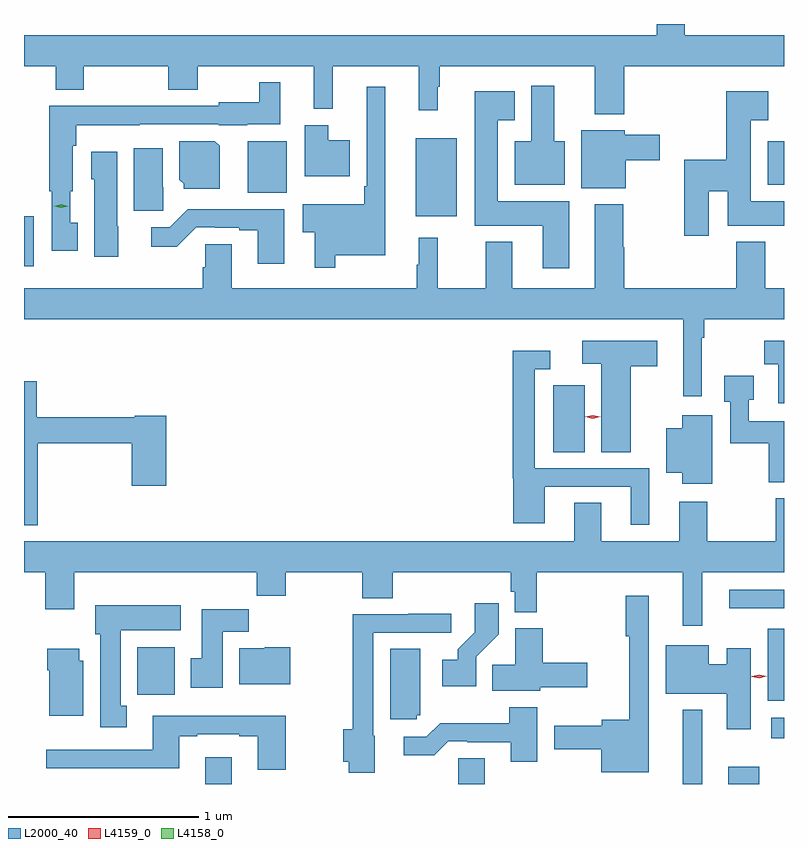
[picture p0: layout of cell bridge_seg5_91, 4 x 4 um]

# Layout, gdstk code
import gdstk
lib = gdstk.Library(unit=1e-6, precision=1e-09)
def R(c, l, rs):  # rectangles x0, y0, x1, y1
    for r in rs: c.add(gdstk.rectangle(r[:2], r[2:], *l))
def P(c, l, *ps):  # polygons
    for p in ps: c.add(gdstk.Polygon(p, *l))
L2000_40 = (2000, 40)
L4158_0 = (4158, 0)
L4159_0 = (4159, 0)

bridge_seg5_91 = lib.new_cell('bridge_seg5_91')
R(bridge_seg5_91, L2000_40, [(184.589,908.926,184.729,909.067), (185.922,908.926,186.061,909.062), (187.103,908.926,187.207,909.316), (187.343,908.926,187.507,909.016), (187.569,909.168,187.636,909.276), (187.55,909.365,187.636,909.742), (184.233,909.396,184.429,909.646), (187.347,909.852,187.636,909.948), (186.422,910.672,186.586,911.026), (183.636,911.651,183.688,911.914), (185.699,911.915,185.914,912.325), (184.814,912.038,185.02,912.308), (187.55,912.08,187.636,912.31)])
P(bridge_seg5_91, L2000_40, [(186.794,912.704),(187.636,912.704),(187.636,912.868),(187.113,912.868),(187.113,912.926),(186.965,912.926),(186.965,912.868),(183.636,912.868),(183.636,912.704),(183.803,912.704),(183.803,912.58),(183.951,912.58),(183.951,912.704),(184.396,912.704),(184.396,912.58),(184.551,912.58),(184.551,912.704),(185.162,912.704),(185.162,912.479),(185.261,912.479),(185.261,912.704),(185.714,912.704),(185.714,912.471),(185.813,912.471),(185.813,912.596),(185.824,912.596),(185.824,912.704),(186.641,912.704),(186.641,912.452),(186.794,912.452)],
  [(183.919,911.881),(183.879,911.881),(183.879,912.045),(183.892,912.045),(183.892,912.285),(183.91,912.285),(183.91,912.392),(184.245,912.392),(184.245,912.399),(184.662,912.399),(184.662,912.392),(184.812,912.392),(184.812,912.398),(184.985,912.398),(184.985,912.619),(184.875,912.619),(184.875,912.514),(184.662,912.514),(184.662,912.495),(184.245,912.495),(184.245,912.497),(184.013,912.497),(184.013,912.495),(183.77,912.495),(183.77,912.045),(183.783,912.045),(183.783,911.733),(183.919,911.733)],
  [(186.481,912.31),(186.427,912.31),(186.427,912.601),(186.305,912.601),(186.305,912.31),(186.218,912.31),(186.218,912.08),(186.481,912.08)],
  [(185.275,911.708),(185.536,911.708),(185.536,912.595),(185.439,912.595),(185.439,912.073),(185.427,912.073),(185.427,911.977),(185.102,911.977),(185.102,911.83),(185.165,911.83),(185.165,911.643),(185.275,911.643)],
  [(187.24,912.047),(187.34,912.047),(187.34,911.864),(187.636,911.864),(187.636,911.992),(187.462,911.992),(187.462,912.419),(187.552,912.419),(187.552,912.571),(187.333,912.571),(187.333,912.212),(187.111,912.212),(187.111,911.811),(187.24,911.811)],
  [(186.505,911.992),(186.13,911.992),(186.13,912.419),(186.22,912.419),(186.22,912.571),(186.008,912.571),(186.008,911.864),(186.365,911.864),(186.365,911.64),(186.505,911.64)],
  [(185.35,912.313),(185.236,912.313),(185.236,912.394),(185.114,912.394),(185.114,912.125),(185.35,912.125)],
  [(186.802,912.209),(186.982,912.209),(186.982,912.343),(186.798,912.343),(186.798,912.367),(186.569,912.367),(186.569,912.062),(186.802,912.062)],
  [(184.666,912.284),(184.64,912.31),(184.454,912.31),(184.454,912.106),(184.476,912.084),(184.476,912.059),(184.666,912.059)],
  [(184.37,912.066),(184.366,912.066),(184.366,912.271),(184.214,912.271),(184.214,911.943),(184.37,911.943)],
  [(184.132,911.862),(184.126,911.862),(184.126,912.253),(183.989,912.253),(183.989,912.108),(184.007,912.108),(184.007,911.7),(184.132,911.7)],
  [(187.203,911.276),(187.216,911.276),(187.216,911.372),(187.636,911.372),(187.636,911.536),(187.537,911.536),(187.537,911.779),(187.385,911.779),(187.385,911.536),(186.794,911.536),(186.794,911.751),(186.789,911.751),(186.789,911.977),(186.641,911.977),(186.641,911.536),(186.205,911.536),(186.205,911.779),(186.065,911.779),(186.065,911.536),(185.814,911.536),(185.814,911.8),(185.714,911.8),(185.714,911.66),(185.703,911.66),(185.703,911.536),(184.729,911.536),(184.729,911.768),(184.59,911.768),(184.59,911.646),(184.577,911.646),(184.577,911.536),(183.636,911.536),(183.636,911.372),(187.106,911.372),(187.106,910.968),(187.203,910.968)],
  [(185.005,911.95),(184.498,911.95),(184.404,911.856),(184.305,911.856),(184.305,911.754),(184.44,911.754),(184.542,911.856),(184.642,911.856),(184.642,911.853),(184.769,911.853),(184.769,911.841),(184.865,911.841),(184.865,911.664),(185.005,911.664)],
  [(187.636,911.26),(187.533,911.26),(187.533,911.134),(187.607,911.134),(187.607,910.931),(187.636,910.931)],
  [(186.829,911.126),(186.97,911.126),(186.97,911.26),(186.573,911.26),(186.573,911.138),(186.674,911.138),(186.674,910.672),(186.829,910.672)],
  [(186.928,910.587),(186.324,910.587),(186.324,911.109),(186.406,911.109),(186.406,911.206),(186.208,911.206),(186.208,910.534),(186.212,910.534),(186.212,910.298),(186.376,910.298),(186.376,910.491),(186.83,910.491),(186.83,910.29),(186.928,910.29)],
  [(187.636,910.836),(187.45,910.836),(187.45,910.949),(187.477,910.949),(187.477,911.074),(187.322,911.074),(187.322,910.937),(187.353,910.937),(187.353,910.72),(187.556,910.72),(187.556,910.514),(187.636,910.514)],
  [(183.709,910.72),(184.202,910.72),(184.202,910.497),(184.385,910.497),(184.385,910.864),(184.218,910.864),(184.218,910.856),(183.704,910.856),(183.704,911.046),(183.636,911.046),(183.636,910.289),(183.709,910.289)],
  [(187.258,910.867),(187.1,910.867),(187.1,910.798),(187.016,910.798),(187.016,910.565),(187.1,910.565),(187.1,910.506),(187.258,910.506)],
  [(187.207,910.04),(187.636,910.04),(187.636,910.429),(187.593,910.429),(187.593,910.204),(187.233,910.204),(187.233,910.411),(187.085,910.411),(187.085,910.204),(186.673,910.204),(186.673,910.406),(186.533,910.406),(186.533,910.204),(183.636,910.204),(183.636,910.04),(183.749,910.04),(183.749,909.846),(183.901,909.846),(183.901,910.04),(184.861,910.04),(184.861,909.916),(185.013,909.916),(185.013,910.04),(185.416,910.04),(185.416,909.904),(185.576,909.904),(185.576,910.04),(186.199,910.04),(186.199,909.939),(186.219,909.939),(186.219,909.83),(186.335,909.83),(186.335,910.04),(187.103,910.04),(187.103,909.759),(187.207,909.759)],
  [(186.925,909.916),(186.804,909.916),(186.804,909.703),(186.821,909.703),(186.821,909.263),(186.678,909.263),(186.678,909.232),(186.426,909.232),(186.426,909.11),(186.674,909.11),(186.674,908.987),(186.925,908.987)],
  [(186.015,909.595),(186.134,909.714),(186.134,909.877),(186.009,909.877),(186.009,909.725),(185.918,909.635),(185.918,909.58),(185.838,909.58),(185.838,909.44),(186.015,909.44)],
  [(184.177,909.337),(184.144,909.337),(184.144,909.734),(184.462,909.734),(184.462,909.868),(184.01,909.868),(184.01,909.714),(184.037,909.714),(184.037,909.225),(184.177,909.225)],
  [(184.681,909.728),(184.82,909.728),(184.82,909.847),(184.571,909.847),(184.571,909.588),(184.514,909.588),(184.514,909.432),(184.681,909.432)],
  [(185.482,909.18),(185.475,909.18),(185.475,909.723),(185.884,909.723),(185.884,909.822),(185.659,909.822),(185.659,909.819),(185.367,909.819),(185.367,909.215),(185.317,909.215),(185.317,909.044),(185.346,909.044),(185.346,908.984),(185.482,908.984)],
  [(186.354,909.434),(186.601,909.434),(186.601,909.564),(186.366,909.564),(186.366,909.745),(186.221,909.745),(186.221,909.554),(186.1,909.554),(186.1,909.416),(186.354,909.416)],
  [(187.462,909.64),(187.334,909.64),(187.334,909.555),(187.24,909.555),(187.24,909.655),(187.013,909.655),(187.013,909.401),(187.334,909.401),(187.334,909.213),(187.462,909.213)],
  [(185.038,909.646),(184.902,909.646),(184.902,909.64),(184.769,909.64),(184.769,909.452),(185.038,909.452)],
  [(185.703,909.288),(185.722,909.288),(185.722,909.637),(185.564,909.637),(185.564,909.267),(185.703,909.267)],
  [(183.949,909.576),(183.928,909.576),(183.928,909.637),(183.758,909.637),(183.758,909.524),(183.77,909.524),(183.77,909.284),(183.949,909.284)],
  [(186.337,909.331),(186.19,909.331),(186.19,909.247),(185.827,909.247),(185.754,909.174),(185.634,909.174),(185.634,909.077),(185.795,909.077),(185.868,909.15),(185.968,909.15),(185.968,909.147),(186.197,909.147),(186.197,909.042),(186.337,909.042)],
  [(185.013,909.286),(184.313,909.286),(184.313,909.105),(183.753,909.105),(183.753,909.008),(184.453,909.008),(184.453,909.177),(184.549,909.177),(184.549,909.189),(184.769,909.189),(184.769,909.177),(184.865,909.177),(184.865,909),(185.013,909)])
P(bridge_seg5_91, L4158_0, [(183.831,911.958),(183.795,911.968),(183.795,911.968),(183.795,911.968),(183.831,911.978),(183.867,911.968),(183.867,911.968),(183.867,911.968)])
P(bridge_seg5_91, L4159_0, [(187.505,909.482),(187.465,909.491),(187.465,909.491),(187.465,909.492),(187.505,909.502),(187.545,909.493),(187.546,909.493),(187.545,909.493)],
  [(186.63,910.848),(186.59,910.858),(186.589,910.858),(186.59,910.858),(186.63,910.868),(186.67,910.858),(186.67,910.858),(186.67,910.858)])

lib.write_gds('bridge_seg5_91.gds')
